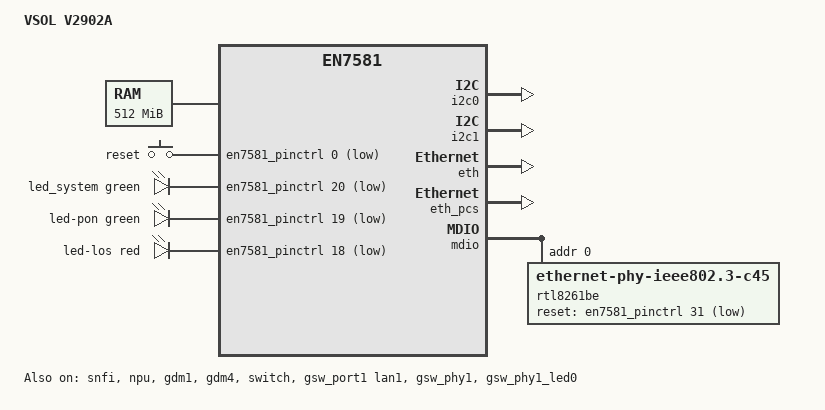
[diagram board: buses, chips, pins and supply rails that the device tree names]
// SPDX-License-Identifier: GPL-2.0-or-later OR MIT
/dts-v1/;

#include <dt-bindings/gpio/gpio.h>
#include <dt-bindings/input/input.h>
#include <dt-bindings/leds/common.h>
#include "an7581.dtsi"

/ {
	model = "VSOL V2902A";
	compatible = "vsol,v2902a", "airoha,an7581", "airoha,en7581";

	aliases {
		led-boot = &led_system;
		led-failsafe = &led_system;
		led-running = &led_system;
		led-upgrade = &led_system;
		serial0 = &uart1;
	};

	chosen {
		bootargs = "console=ttyS0,115200 earlycon ubi.mtd=tclinux,0,0,0 ubi.mtd=rootfs_data,0,0,1 root=/dev/fit0 rootwait";
		rootdisk = <&tclinux_fit>;
		rootdisk-slave = <&tclinux_slave_fit>;
		stdout-path = "serial0:115200n8";
	};

	memory@80000000 {
		device_type = "memory";
		reg = <0x0 0x80000000 0x0 0x20000000>;
	};

	gpio-keys-polled {
		compatible = "gpio-keys-polled";
		poll-interval = <100>;

		btn-reset {
			label = "reset";
			linux,code = <KEY_RESTART>;
			gpios = <&en7581_pinctrl 0 GPIO_ACTIVE_LOW>;
		};
	};

	leds {
		compatible = "gpio-leds";

		led_system: led-system {
			color = <LED_COLOR_ID_GREEN>;
			function = LED_FUNCTION_POWER;
			gpios = <&en7581_pinctrl 20 GPIO_ACTIVE_LOW>;
		};

		led-pon {
			color = <LED_COLOR_ID_GREEN>;
			function = "pon";
			gpios = <&en7581_pinctrl 19 GPIO_ACTIVE_LOW>;
		};

		led-los {
			color = <LED_COLOR_ID_RED>;
			function = "los";
			gpios = <&en7581_pinctrl 18 GPIO_ACTIVE_LOW>;
		};
	};
};

&en7581_pinctrl {
	gpio-ranges = <&en7581_pinctrl 0 13 50>;

	mdio_pins: mdio-pins {
		mux {
			function = "mdio";
			groups = "mdio";
		};

		conf {
			pins = "gpio2";
			output-high;
		};
	};

	gswp1_led0_pins: gswp1-led0-pins {
		mux {
			function = "phy1_led0";
			pins = "gpio33";
		};
	};
};

&snfi {
	status = "okay";
};

&spi_nand {
	/*
	 * The auto adaption of 64M/128M/256M nand flash like stock rom is not implemented.
	 * 64M: 21m[tclinux],21m[tclinux_slave],4m[rootfs_data],4m[framework],4m[framework_slave]
	 * 256M: 64m[tclinux],64m[tclinux_slave],25m[rootfs_data],30m[framework],30m[framework_slave]
	 */

	partitions {
		compatible = "fixed-partitions";
		#address-cells = <1>;
		#size-cells = <1>;

		bootloader@0 {
			label = "bootloader";
			reg = <0x00000000 0x00080000>;
		};

		tclinux@80000 {
			label = "tclinux";
			reg = <0x00080000 0x02000000>;

			volumes {
				tclinux_fit: ubi-volume-fit {
					volname = "fit";
				};
			};
		};

		tclinux_slave@2080000 {
			label = "tclinux_slave";
			reg = <0x02080000 0x02000000>;

			volumes {
				tclinux_slave_fit: ubi-volume-fit {
					volname = "fit";
				};
			};
		};

		rootfs_data@4080000 {
			label = "rootfs_data";
			reg = <0x04080000 0x02800000>;
		};

		factory@6880000 {
			label = "factory";
			reg = <0x06880000 0x00100000>;
		};

		art@6c80000 {
			label = "art";
			reg = <0x06c80000 0x00380000>;
		};
	};
};

&i2c0 {
	status = "okay";
};

&i2c1 {
	status = "okay";
};

&npu {
	status = "okay";
};

&eth {
	status = "okay";
};

&gdm1 {
	status = "okay";
};

&eth_pcs {
	status = "okay";
};

&gdm4 {
	status = "okay";
	managed = "in-band-status";
	phy-handle = <&rtl8261be>;
	phy-mode = "usxgmii";
};

&switch {
	status = "okay";
	pinctrl-names = "default";
	pinctrl-0 = <&mdio_pins>;
};

&mdio {
	rtl8261be: ethernet-phy@0 {
		compatible = "ethernet-phy-ieee802.3-c45";
		reg = <0>;
		reset-gpios = <&en7581_pinctrl 31 GPIO_ACTIVE_LOW>;
		reset-assert-us = <1000000>;
		reset-deassert-us = <1000000>;
	};
};

&gsw_port1 {
	status = "okay";
	label = "lan1";
};

&gsw_phy1 {
	status = "okay";
	interrupts = <1>;
	pinctrl-names = "gbe-led";
	pinctrl-0 = <&gswp1_led0_pins>;
};

&gsw_phy1_led0 {
	status = "okay";
	function = LED_FUNCTION_LAN;
	color = <LED_COLOR_ID_GREEN>;
	active-low;
};
